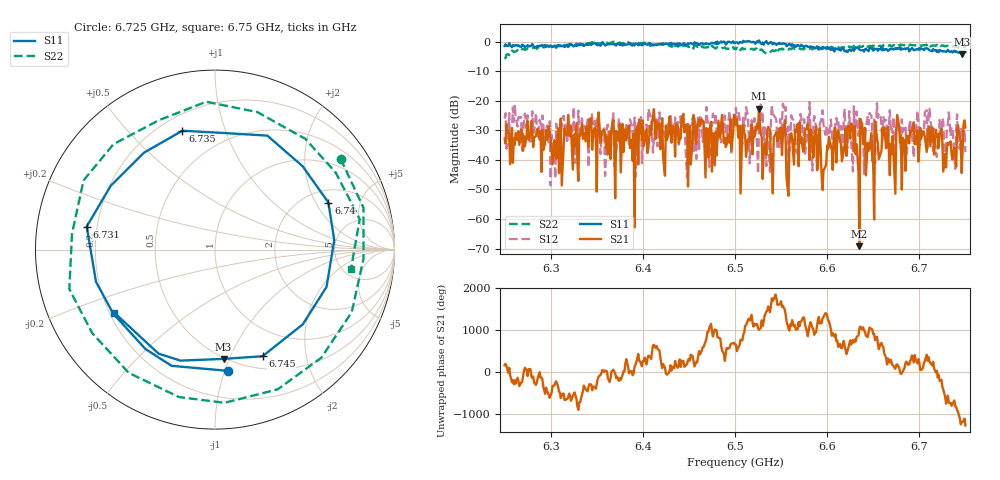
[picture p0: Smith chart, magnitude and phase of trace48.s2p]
# Hz S RI R 50
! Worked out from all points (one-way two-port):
!   401 points, 6.25 GHz to 6.75 GHz, reference 50 ohm
!   highest |S21| = -22.70 dB at 6.526 GHz (marker M1); lowest = -69.2 dB at 6.635 GHz (marker M2)
!   lowest |S11| = -4.3 dB at 6.746 GHz (marker M3), VSWR 4.14, Z = 24.5 - j47.7 ohm
!   |S11| at or under -10 dB: nowhere
!   |S22| runs from -5.8 to 0.0 dB; largest |S21 - S12| = 0.12
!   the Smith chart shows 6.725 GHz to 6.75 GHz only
!   S11 on the Smith chart (normalised r, x): 6.725 GHz: 0.41, -1.03; 6.731 GHz: 0.16, +0.09; 6.735 GHz: 0.29, +0.72; 6.74 GHz: 2.61, +2.57; 6.745 GHz: 0.65, -1.33; 6.75 GHz: 0.22, -0.28
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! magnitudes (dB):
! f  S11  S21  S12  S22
! 6.25 GHz  -1.5  -32.9  -26.0  -5.8
! 6.302 GHz  -1.7  -41.5  -33.6  -1.7
! 6.334 GHz  -1.2  -27.7  -26.0  -1.0
! 6.389 GHz  -1.3  -40.3  -31.5  -0.8
! 6.418 GHz  -0.8  -27.7  -23.9  -0.8
! 6.478 GHz  -0.7  -41.9  -27.5  -2.2
! 6.5 GHz  -0.4  -25.6  -27.7  -2.1
! 6.526 GHz  0.4  -22.7  -28.1  -2.6
! 6.584 GHz  -1.9  -33.1  -43.6  -2.7
! 6.596 GHz  -2.1  -43.6  -28.2  -2.3
! 6.625 GHz  -2.9  -32.8  -33.7  -2.0
! 6.635 GHz  -2.7  -69.2  -25.7  -1.5
! 6.639 GHz  -3.0  -34.7  -31.2  -1.5
! 6.649 GHz  -2.2  -40.3  -31.1  -1.5
! 6.668 GHz  -2.6  -45.2  -23.2  -1.2
! 6.725 GHz  -3.4  -34.0  -25.8  -1.3
! 6.731 GHz  -2.8  -34.3  -27.8  -1.4
! 6.735 GHz  -3.3  -38.0  -28.9  -1.5
! 6.74 GHz  -3.3  -42.3  -29.8  -1.6
! 6.745 GHz  -3.7  -33.8  -29.1  -1.9
! 6.746 GHz  -4.3  -44.5  -30.1  -2.0
! 6.75 GHz  -3.6  -29.0  -37.4  -2.3
